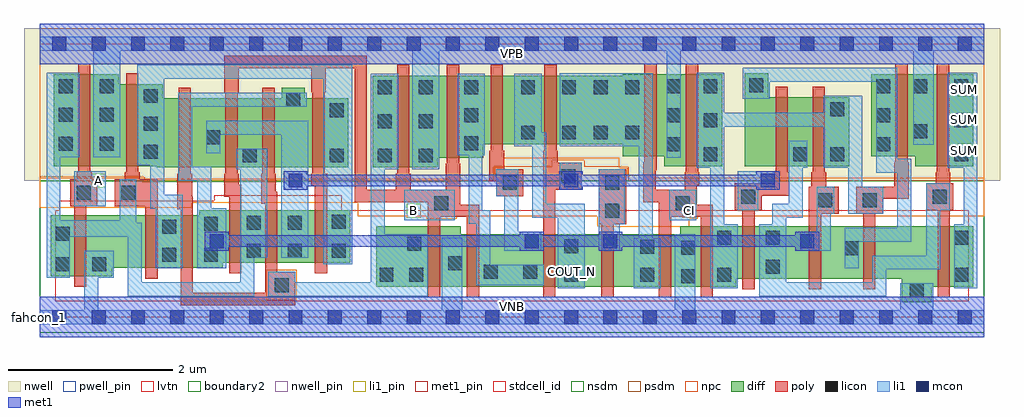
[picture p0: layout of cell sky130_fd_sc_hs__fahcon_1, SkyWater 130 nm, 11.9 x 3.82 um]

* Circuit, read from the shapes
.subckt sky130_fd_sc_hs__fahcon_1 A B CI COUT_N SUM VGND VNB VPB VPWR
XM1 VGND A n1 VNB sky130_fd_pr__nfet_01v8_lvt w=0.74 l=0.15
XM2 n2 n1 VGND VNB sky130_fd_pr__nfet_01v8_lvt w=0.64 l=0.15
XM3 n3 n4 n2 VNB sky130_fd_pr__nfet_01v8_lvt w=0.64 l=0.15
XM4 n1 B n3 VNB sky130_fd_pr__nfet_01v8_lvt w=0.64 l=0.15
XM5 n5 n4 n1 VNB sky130_fd_pr__nfet_01v8_lvt w=0.64 l=0.15
XM6 n2 B n5 VNB sky130_fd_pr__nfet_01v8_lvt w=0.64 l=0.15
XM7 VGND B n4 VNB sky130_fd_pr__nfet_01v8_lvt w=0.74 l=0.15
XM8 n6 B VGND VNB sky130_fd_pr__nfet_01v8_lvt w=0.64 l=0.15
XM9 COUT_N n5 n6 VNB sky130_fd_pr__nfet_01v8_lvt w=0.64 l=0.15
XM10 n7 n3 COUT_N VNB sky130_fd_pr__nfet_01v8_lvt w=0.64 l=0.15
XM11 VGND CI n7 VNB sky130_fd_pr__nfet_01v8_lvt w=0.64 l=0.15
XM12 n8 CI VGND VNB sky130_fd_pr__nfet_01v8_lvt w=0.74 l=0.15
XM13 n9 n5 n8 VNB sky130_fd_pr__nfet_01v8_lvt w=0.64 l=0.15
XM14 n10 n3 n9 VNB sky130_fd_pr__nfet_01v8_lvt w=0.64 l=0.15
XM15 VGND n8 n10 VNB sky130_fd_pr__nfet_01v8_lvt w=0.64 l=0.15
XM16 SUM n9 VGND VNB sky130_fd_pr__nfet_01v8_lvt w=0.74 l=0.15
XM17 VPWR A n1 VPB sky130_fd_pr__pfet_01v8 w=1.12 l=0.15
XM18 n2 n1 VPWR VPB sky130_fd_pr__pfet_01v8 w=1 l=0.15
XM19 n5 n4 n2 VPB sky130_fd_pr__pfet_01v8 w=0.84 l=0.15
XM20 n1 B n5 VPB sky130_fd_pr__pfet_01v8 w=0.84 l=0.15
XM21 n3 n4 n1 VPB sky130_fd_pr__pfet_01v8 w=0.84 l=0.15
XM22 n2 B n3 VPB sky130_fd_pr__pfet_01v8 w=0.84 l=0.15
XM23 VPWR B n4 VPB sky130_fd_pr__pfet_01v8 w=1.12 l=0.15
XM24 n6 B VPWR VPB sky130_fd_pr__pfet_01v8 w=1 l=0.15
XM25 COUT_N n3 n6 VPB sky130_fd_pr__pfet_01v8 w=0.84 l=0.15
XM26 n7 n5 COUT_N VPB sky130_fd_pr__pfet_01v8 w=0.84 l=0.15
XM27 VPWR CI n7 VPB sky130_fd_pr__pfet_01v8 w=1 l=0.15
XM28 n8 CI VPWR VPB sky130_fd_pr__pfet_01v8 w=1.12 l=0.15
XM29 n9 n5 n10 VPB sky130_fd_pr__pfet_01v8 w=0.84 l=0.15
XM30 n8 n3 n9 VPB sky130_fd_pr__pfet_01v8 w=0.84 l=0.15
XM31 VPWR n8 n10 VPB sky130_fd_pr__pfet_01v8 w=1 l=0.15
XM32 SUM n9 VPWR VPB sky130_fd_pr__pfet_01v8 w=1.12 l=0.15
.ends

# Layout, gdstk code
import gdstk
lib = gdstk.Library(unit=1e-6, precision=1e-09)
def R(c, l, rs):  # rectangles x0, y0, x1, y1
    for r in rs: c.add(gdstk.rectangle(r[:2], r[2:], *l))
def A(c, l, x, y, w, h, nx, ny, dx, dy):  # array of equal rectangles
    R(c, l, [(x+i*dx, y+j*dy, x+i*dx+w, y+j*dy+h) for i in range(nx) for j in range(ny)])
def P(c, l, *ps):  # polygons
    for p in ps: c.add(gdstk.Polygon(p, *l))
nwell_pin = (64, 16)
nwell = (64, 20)
diff = (65, 20)
poly = (66, 20)
licon = (66, 44)
li1_pin = (67, 16)
li1 = (67, 20)
mcon = (67, 44)
met1_pin = (68, 16)
met1 = (68, 20)
stdcell_id = (81, 4)
nsdm = (93, 44)
psdm = (94, 20)
npc = (95, 20)
pwell_pin = (122, 16)
lvtn = (125, 44)
boundary2 = (236, 0)

sky130_fd_sc_hs__fahcon_ = lib.new_cell('sky130_fd_sc_hs__fahcon_1')
R(sky130_fd_sc_hs__fahcon_, nwell_pin, [(0,3.085,11.52,3.33)])
P(sky130_fd_sc_hs__fahcon_, nwell, [(11.71,3.52),(-0.19,3.52),(-0.19,1.66),(1.25,1.66),(1.25,1.645),(5.035,1.645),(5.035,1.66),(11.71,1.66)])
P(sky130_fd_sc_hs__fahcon_, diff, [(3.765,2.665),(3.235,2.665),(3.235,2.795),(2.955,2.795),(2.955,2.665),(1.5,2.665),(1.5,2.84),(0.965,2.84),(0.965,2.96),(0.175,2.96),(0.175,1.84),(1.43,1.84),(1.43,1.825),(3.765,1.825)],
  [(3.79,1.305),(1.945,1.305),(1.945,1.24),(0.135,1.24),(0.135,0.5),(0.885,0.5),(0.885,0.6),(2.235,0.6),(2.235,0.665),(3.79,0.665)],
  [(8.325,2.96),(7.11,2.96),(7.11,2.945),(4.065,2.945),(4.065,1.825),(4.855,1.825),(4.855,1.945),(5.41,1.945),(5.41,2.105),(7.11,2.105),(7.11,1.96),(7.615,1.96),(7.615,1.84),(8.325,1.84)],
  [(9.87,2.68),(8.885,2.68),(8.885,2.97),(8.595,2.97),(8.595,1.84),(9.87,1.84)],
  [(11.385,2.96),(10.14,2.96),(10.14,1.96),(10.675,1.96),(10.675,1.84),(11.385,1.84)],
  [(11.385,1.11),(7.81,1.11),(7.81,1.01),(5.135,1.01),(5.135,1.11),(4.105,1.11),(4.105,0.37),(8.495,0.37),(8.495,0.47),(10.515,0.47),(10.515,0.18),(10.875,0.18),(10.875,0.37),(11.385,0.37)])
P(sky130_fd_sc_hs__fahcon_, poly, [(0.705,1.68),(0.635,1.68),(0.635,1.765),(0.62,1.765),(0.62,3.09),(0.47,3.09),(0.47,1.765),(0.455,1.765),(0.455,1.68),(0.375,1.68),(0.375,1.35),(0.42,1.35),(0.42,0.37),(0.57,0.37),(0.57,1.35),(0.705,1.35)],
  [(1.44,1.68),(1.22,1.68),(1.22,1.765),(1.205,1.765),(1.205,2.97),(1.055,2.97),(1.055,1.765),(1.04,1.765),(1.04,1.68),(0.915,1.68),(0.915,1.35),(1.29,1.35),(1.29,0.47),(1.44,0.47)],
  [(3.115,0.555),(2.9,0.555),(2.9,1.53),(2.88,1.53),(2.88,1.75),(2.865,1.75),(2.865,2.795),(2.715,2.795),(2.715,1.75),(2.7,1.75),(2.7,1.38),(2.75,1.38),(2.75,0.295),(1.87,0.295),(1.87,1.465),(1.86,1.465),(1.86,1.75),(1.845,1.75),(1.845,2.795),(1.695,2.795),(1.695,1.75),(1.68,1.75),(1.68,1.315),(1.72,1.315),(1.72,0.145),(3.115,0.145)],
  [(5.36,1.37),(5.13,1.37),(5.13,1.87),(5.115,1.87),(5.115,3.075),(4.965,3.075),(4.965,1.87),(4.95,1.87),(4.95,1.55),(4.525,1.55),(4.525,1.75),(4.51,1.75),(4.51,3.075),(4.36,3.075),(4.36,1.75),(4.345,1.75),(4.345,1.55),(3.99,1.55),(3.99,3.185),(2.25,3.185),(2.25,2.74),(2.265,2.74),(2.265,1.75),(2.25,1.75),(2.25,1.465),(2.31,1.465),(2.31,0.535),(2.46,0.535),(2.46,1.615),(2.43,1.615),(2.43,1.75),(2.415,1.75),(2.415,2.74),(2.43,2.74),(2.43,3.035),(3.31,3.035),(3.31,2.74),(3.325,2.74),(3.325,1.75),(3.31,1.75),(3.31,1.6),(3.355,1.6),(3.355,0.535),(3.505,0.535),(3.505,1.75),(3.475,1.75),(3.475,2.74),(3.49,2.74),(3.49,3.035),(3.84,3.035),(3.84,1.4),(4.735,1.4),(4.735,0.24),(4.885,0.24),(4.885,1.22),(5.21,1.22),(5.21,0.24),(5.36,0.24)],
  [(5.9,1.805),(5.665,1.805),(5.665,2.03),(5.65,2.03),(5.65,3.075),(5.5,3.075),(5.5,2.03),(5.485,2.03),(5.485,1.655),(5.57,1.655),(5.57,1.475),(5.9,1.475)],
  [(6.61,1.88),(6.32,1.88),(6.32,2.03),(6.305,2.03),(6.305,3.075),(6.155,3.075),(6.155,2.03),(6.14,2.03),(6.14,0.24),(6.29,0.24),(6.29,1.55),(6.61,1.55)],
  [(7.15,1.8),(6.82,1.8),(6.82,1.13),(6.85,1.13),(6.85,0.24),(7,0.24),(7,1.13),(7.15,1.13)],
  [(8.21,1.37),(8.015,1.37),(8.015,1.61),(8.045,1.61),(8.045,1.765),(8.03,1.765),(8.03,3.09),(7.88,3.09),(7.88,1.765),(7.865,1.765),(7.865,1.55),(7.51,1.55),(7.51,1.79),(7.525,1.79),(7.525,3.09),(7.375,3.09),(7.375,1.885),(7.36,1.885),(7.36,1.4),(7.55,1.4),(7.55,0.24),(7.7,0.24),(7.7,1.22),(8.06,1.22),(8.06,0.24),(8.21,0.24)],
  [(9.14,1.765),(9.125,1.765),(9.125,2.81),(8.975,2.81),(8.975,1.765),(8.96,1.765),(8.96,1.63),(8.475,1.63),(8.475,1.3),(8.57,1.3),(8.57,0.34),(8.72,0.34),(8.72,1.3),(8.805,1.3),(8.805,1.48),(9.14,1.48)],
  [(9.745,1.59),(9.59,1.59),(9.59,1.765),(9.575,1.765),(9.575,2.81),(9.425,2.81),(9.425,1.765),(9.41,1.765),(9.41,1.59),(9.38,1.59),(9.38,0.34),(9.53,0.34),(9.53,1.26),(9.745,1.26)],
  [(10.6,1.885),(10.585,1.885),(10.585,3.09),(10.435,3.09),(10.435,1.885),(10.42,1.885),(10.42,1.59),(9.955,1.59),(9.955,1.26),(10.04,1.26),(10.04,0.34),(10.19,0.34),(10.19,1.26),(10.285,1.26),(10.285,1.44),(10.6,1.44)],
  [(11.14,1.63),(11.105,1.63),(11.105,1.765),(11.09,1.765),(11.09,3.09),(10.94,3.09),(10.94,1.765),(10.925,1.765),(10.925,1.63),(10.81,1.63),(10.81,1.3),(10.95,1.3),(10.95,0.24),(11.1,0.24),(11.1,1.3),(11.14,1.3)])
A(sky130_fd_sc_hs__fahcon_, licon, 4.125, 1.885, 0.17, 0.17, 1, 3, 0, 0.415)
A(sky130_fd_sc_hs__fahcon_, licon, 4.625, 1.885, 0.17, 0.17, 1, 3, 0, 0.415)
A(sky130_fd_sc_hs__fahcon_, licon, 8.095, 1.9, 0.17, 0.17, 1, 3, 0, 0.415)
A(sky130_fd_sc_hs__fahcon_, licon, 11.155, 1.9, 0.17, 0.17, 1, 3, 0, 0.415)
A(sky130_fd_sc_hs__fahcon_, licon, 1.27, 1.93, 0.17, 0.17, 1, 3, 0, 0.34)
A(sky130_fd_sc_hs__fahcon_, licon, 7.645, 2.02, 0.17, 0.17, 1, 3, 0, 0.355)
A(sky130_fd_sc_hs__fahcon_, licon, 10.2, 2.02, 0.17, 0.17, 1, 3, 0, 0.355)
A(sky130_fd_sc_hs__fahcon_, licon, 0.235, 2.03, 0.17, 0.17, 1, 3, 0, 0.35)
A(sky130_fd_sc_hs__fahcon_, licon, 0.735, 2.03, 0.17, 0.17, 1, 3, 0, 0.35)
A(sky130_fd_sc_hs__fahcon_, licon, 5.18, 2.035, 0.17, 0.17, 1, 3, 0, 0.34)
A(sky130_fd_sc_hs__fahcon_, licon, 6.37, 2.165, 0.17, 0.17, 3, 2, 0.385, 0.55)
R(sky130_fd_sc_hs__fahcon_, licon, [(10.61,0.24,10.78,0.41), (2.865,0.305,3.035,0.475), (7.825,0.41,7.995,0.58), (4.145,0.43,4.315,0.6), (4.51,0.43,4.68,0.6), (6.4,0.43,6.57,0.6), (7.325,0.43,7.495,0.6), (8.265,0.43,8.435,0.6), (11.155,0.43,11.325,0.6), (5.415,0.47,5.585,0.64), (5.9,0.47,6.07,0.64), (8.855,0.53,9.025,0.7), (0.195,0.56,0.365,0.73), (0.64,0.56,0.81,0.73), (4.985,0.57,5.155,0.74), (1.495,0.675,1.665,0.845), (2.005,0.675,2.175,0.845), (2.525,0.725,2.695,0.895), (3.025,0.725,3.195,0.895), (3.56,0.725,3.73,0.895), (9.815,0.755,9.985,0.925), (7.825,0.76,7.995,0.93), (7.325,0.77,7.495,0.94), (6.4,0.78,6.57,0.95), (4.485,0.81,4.655,0.98), (8.265,0.88,8.435,1.05), (8.855,0.88,9.025,1.05), (11.155,0.88,11.325,1.05), (0.195,0.93,0.365,1.1), (1.495,1.015,1.665,1.185), (2.005,1.05,2.175,1.22), (2.525,1.065,2.695,1.235), (3.025,1.065,3.195,1.235), (3.56,1.075,3.73,1.245), (6.9,1.21,7.07,1.38), (4.815,1.3,4.985,1.47), (7.755,1.3,7.925,1.47), (9.495,1.34,9.665,1.51), (10.035,1.34,10.205,1.51), (8.555,1.38,8.725,1.55), (10.89,1.38,11.06,1.55), (0.455,1.43,0.625,1.6), (0.995,1.43,1.165,1.6), (6.9,1.55,7.07,1.72), (5.65,1.555,5.82,1.725), (6.36,1.63,6.53,1.8), (2.48,1.885,2.65,2.055), (3.54,1.885,3.71,2.055), (9.19,1.9,9.36,2.07), (9.64,1.9,9.81,2.07), (2.03,2.11,2.2,2.28), (5.87,2.165,6.04,2.335), (10.65,2.18,10.82,2.35), (3.54,2.435,3.71,2.605), (9.64,2.45,9.81,2.62), (3.01,2.565,3.18,2.735), (5.87,2.715,6.04,2.885), (10.65,2.73,10.82,2.9), (8.655,2.74,8.825,2.91)])
A(sky130_fd_sc_hs__fahcon_, li1_pin, 11.195, 1.95, 0.17, 0.17, 1, 3, 0, 0.37)
R(sky130_fd_sc_hs__fahcon_, li1_pin, [(6.395,0.47,6.565,0.64), (4.475,1.21,4.645,1.38), (7.835,1.21,8.005,1.38), (0.635,1.58,0.805,1.75)])
R(sky130_fd_sc_hs__fahcon_, li1, [(4.445,1.18,5.06,1.55), (7.675,1.18,8.005,1.55), (0.425,1.35,0.805,1.78), (6.345,1.55,6.61,1.88)])
P(sky130_fd_sc_hs__fahcon_, li1, [(0,-0.085),(0,0.085),(0.545,0.085),(0.545,0.81),(0.905,0.81),(0.905,0.48),(0.715,0.48),(0.715,0.085),(4.905,0.085),(4.905,0.965),(5.155,0.965),(5.155,0.085),(7.745,0.085),(7.745,1.01),(7.995,1.01),(7.995,0.085),(10.495,0.085),(10.495,0.41),(10.895,0.41),(10.895,0.085),(11.52,0.085),(11.52,-0.085)],
  [(0,3.245),(0,3.415),(11.52,3.415),(11.52,3.245),(10.9,3.245),(10.9,2.1),(10.65,2.1),(10.65,3.245),(7.815,3.245),(7.815,1.94),(7.645,1.94),(7.645,3.245),(4.875,3.245),(4.875,1.805),(4.545,1.805),(4.545,3.245),(0.985,3.245),(0.985,1.95),(0.655,1.95),(0.655,3.245)],
  [(11.075,1.82),(11.075,2.98),(11.435,2.98),(11.435,0.35),(11.155,0.35),(11.155,1.13),(11.265,1.13),(11.265,1.82)],
  [(1.925,0.595),(1.925,1.66),(1.69,1.66),(1.69,2.735),(3.26,2.735),(3.26,2.565),(1.86,2.565),(1.86,1.83),(2.095,1.83),(2.095,1.325),(2.275,1.325),(2.275,0.595)],
  [(6.32,0.35),(6.32,1.21),(6.005,1.21),(6.005,2.085),(5.79,2.085),(5.79,2.965),(6.12,2.965),(6.12,2.255),(6.175,2.255),(6.175,1.38),(6.65,1.38),(6.65,0.35)],
  [(8.345,1.13),(8.515,1.13),(8.515,0.35),(8.175,0.35),(8.175,1.82),(8.015,1.82),(8.015,2.98),(8.345,2.98),(8.345,2.49),(9.56,2.49),(9.56,2.7),(10.03,2.7),(10.03,1.59),(10.285,1.59),(10.285,1.26),(9.86,1.26),(9.86,1.82),(9.56,1.82),(9.56,2.32),(8.345,2.32)],
  [(5.4,1.975),(5.4,1.305),(5.495,1.305),(5.495,0.64),(6.15,0.64),(6.15,0.39),(5.325,0.39),(5.325,1.135),(5.23,1.135),(5.23,1.975),(5.1,1.975),(5.1,2.965),(5.43,2.965),(5.43,1.975)],
  [(1.19,3.075),(3.81,3.075),(3.81,0.645),(3.46,0.645),(3.46,2.905),(1.52,2.905),(1.52,1.49),(1.745,1.49),(1.745,0.595),(1.415,0.595),(1.415,1.32),(1.35,1.32),(1.35,1.85),(1.19,1.85)],
  [(0.255,1.95),(0.255,1.18),(0.975,1.18),(0.975,1.68),(1.18,1.68),(1.18,1.15),(1.245,1.15),(1.245,0.425),(2.445,0.425),(2.445,1.805),(2.4,1.805),(2.4,2.055),(2.775,2.055),(2.775,0.725),(2.615,0.725),(2.615,0.255),(1.075,0.255),(1.075,0.98),(0.365,0.98),(0.365,0.48),(0.085,0.48),(0.085,2.98),(0.485,2.98),(0.485,1.95)],
  [(2.945,2.225),(2.2,2.225),(2.2,2),(2.03,2),(2.03,2.395),(3.275,2.395),(3.275,0.725),(2.945,0.725)],
  [(10.155,0.75),(10.81,0.75),(10.81,1.63),(11.095,1.63),(11.095,1.3),(10.98,1.3),(10.98,0.58),(10.325,0.58),(10.325,0.255),(8.775,0.255),(8.775,1.13),(8.935,1.13),(8.935,1.38),(9.135,1.38),(9.135,2.15),(9.36,2.15),(9.36,1.82),(9.305,1.82),(9.305,1.21),(9.105,1.21),(9.105,0.425),(10.155,0.425)],
  [(5.665,0.81),(5.665,1.475),(5.57,1.475),(5.57,1.805),(5.835,1.805),(5.835,1.04),(6.115,1.04),(6.115,0.81)],
  [(9.475,1.59),(9.69,1.59),(9.69,1.26),(9.645,1.26),(9.645,0.81),(9.275,0.81),(9.275,1.04),(9.475,1.04)],
  [(4.04,2.965),(4.375,2.965),(4.375,1.805),(4.21,1.805),(4.21,1.01),(4.735,1.01),(4.735,0.255),(2.785,0.255),(2.785,0.555),(3.115,0.555),(3.115,0.425),(4.04,0.425)],
  [(9.985,0.92),(9.985,0.595),(9.815,0.595),(9.815,1.09),(10.455,1.09),(10.455,1.76),(10.2,1.76),(10.2,2.87),(8.905,2.87),(8.905,2.66),(8.575,2.66),(8.575,3.04),(10.455,3.04),(10.455,1.93),(10.625,1.93),(10.625,0.92)],
  [(6.82,0.81),(6.82,1.8),(7.135,1.8),(7.135,1.13),(7.075,1.13),(7.075,0.81)],
  [(7.305,0.96),(7.305,2.085),(6.345,2.085),(6.345,2.97),(7.475,2.97),(7.475,0.96),(7.575,0.96),(7.575,0.35),(7.245,0.35),(7.245,0.96)],
  [(8.515,1.3),(8.515,1.78),(8.965,1.78),(8.965,1.55),(8.765,1.55),(8.765,1.3)])
A(sky130_fd_sc_hs__fahcon_, mcon, 0.155, -0.085, 0.17, 0.17, 24, 2, 0.48, 3.33)
R(sky130_fd_sc_hs__fahcon_, mcon, [(2.075,0.84,2.245,1.01), (5.915,0.84,6.085,1.01), (6.875,0.84,7.045,1.01), (9.275,0.84,9.445,1.01), (3.035,1.58,3.205,1.75), (6.395,1.58,6.565,1.75), (8.795,1.58,8.965,1.75)])
R(sky130_fd_sc_hs__fahcon_, met1_pin, [(0,0,11.52,0.245), (0,3.085,11.52,3.33)])
R(sky130_fd_sc_hs__fahcon_, met1, [(0,-0.245,11.52,0.245), (0,3.085,11.52,3.575)])
P(sky130_fd_sc_hs__fahcon_, met1, [(2.305,0.995),(5.855,0.995),(5.855,1.04),(6.145,1.04),(6.145,0.995),(6.815,0.995),(6.815,1.04),(7.105,1.04),(7.105,0.995),(9.215,0.995),(9.215,1.04),(9.505,1.04),(9.505,0.81),(9.215,0.81),(9.215,0.855),(7.105,0.855),(7.105,0.81),(6.815,0.81),(6.815,0.855),(6.145,0.855),(6.145,0.81),(5.855,0.81),(5.855,0.855),(2.305,0.855),(2.305,0.81),(2.015,0.81),(2.015,1.04),(2.305,1.04)],
  [(6.335,1.55),(6.335,1.595),(3.265,1.595),(3.265,1.55),(2.975,1.55),(2.975,1.78),(3.265,1.78),(3.265,1.735),(6.335,1.735),(6.335,1.78),(6.625,1.78),(6.625,1.735),(8.735,1.735),(8.735,1.78),(9.025,1.78),(9.025,1.55),(8.735,1.55),(8.735,1.595),(6.625,1.595),(6.625,1.55)])
R(sky130_fd_sc_hs__fahcon_, stdcell_id, [(0,0,11.52,3.33)])
R(sky130_fd_sc_hs__fahcon_, nsdm, [(0,-0.19,11.52,1.66)])
P(sky130_fd_sc_hs__fahcon_, psdm, [(11.52,3.52),(0,3.52),(0,1.71),(1.275,1.71),(1.275,1.66),(5.54,1.66),(5.54,1.835),(6.25,1.835),(6.25,1.91),(6.64,1.91),(6.64,1.83),(7.18,1.83),(7.18,1.66),(11.52,1.66)])
R(sky130_fd_sc_hs__fahcon_, npc, [(2.765,0.205,3.135,0.575)])
P(sky130_fd_sc_hs__fahcon_, npc, [(11.52,1.7),(7.475,1.7),(7.475,1.73),(7.17,1.73),(7.17,1.82),(7.065,1.82),(7.065,1.945),(5.655,1.945),(5.655,1.825),(5.55,1.825),(5.55,1.73),(4.995,1.73),(4.995,1.685),(1.29,1.685),(1.29,1.7),(0,1.7),(0,1.33),(1.855,1.33),(1.855,1.395),(3.88,1.395),(3.88,1.23),(4.715,1.23),(4.715,1.2),(5.085,1.2),(5.085,1.23),(6.8,1.23),(6.8,1.11),(6.905,1.11),(6.905,1.1),(7.92,1.1),(7.92,1.2),(8.025,1.2),(8.025,1.23),(11.52,1.23)])
R(sky130_fd_sc_hs__fahcon_, pwell_pin, [(0,0,11.52,0.245)])
P(sky130_fd_sc_hs__fahcon_, lvtn, [(11.33,1.3),(3.685,1.3),(3.685,1.485),(2.13,1.485),(2.13,1.42),(0.24,1.42),(0.24,1.3),(0.19,1.3),(0.19,0.19),(11.33,0.19)])
R(sky130_fd_sc_hs__fahcon_, boundary2, [(0,0,11.52,3.33)])
sky130_fd_sc_hs__fahcon_.add(gdstk.Label('fahcon_1', (0,0), layer=83, texttype=44))
sky130_fd_sc_hs__fahcon_.add(gdstk.Label('VNB', (5.76,0.123), layer=64, texttype=59))
sky130_fd_sc_hs__fahcon_.add(gdstk.Label('VPB', (5.76,3.208), layer=64, texttype=5))
sky130_fd_sc_hs__fahcon_.add(gdstk.Label('VPWR', (5.76,3.208), layer=68, texttype=5))
sky130_fd_sc_hs__fahcon_.add(gdstk.Label('VGND', (5.76,0.123), layer=68, texttype=5))
sky130_fd_sc_hs__fahcon_.add(gdstk.Label('CI', (7.92,1.295), layer=67, texttype=5))
sky130_fd_sc_hs__fahcon_.add(gdstk.Label('B', (4.56,1.295), layer=67, texttype=5))
sky130_fd_sc_hs__fahcon_.add(gdstk.Label('A', (0.72,1.665), layer=67, texttype=5))
sky130_fd_sc_hs__fahcon_.add(gdstk.Label('SUM', (11.28,2.035), layer=67, texttype=5))
sky130_fd_sc_hs__fahcon_.add(gdstk.Label('SUM', (11.28,2.405), layer=67, texttype=5))
sky130_fd_sc_hs__fahcon_.add(gdstk.Label('SUM', (11.28,2.775), layer=67, texttype=5))
sky130_fd_sc_hs__fahcon_.add(gdstk.Label('COUT_N', (6.48,0.555), layer=67, texttype=5))

lib.write_gds('sky130_fd_sc_hs__fahcon_1.gds')
